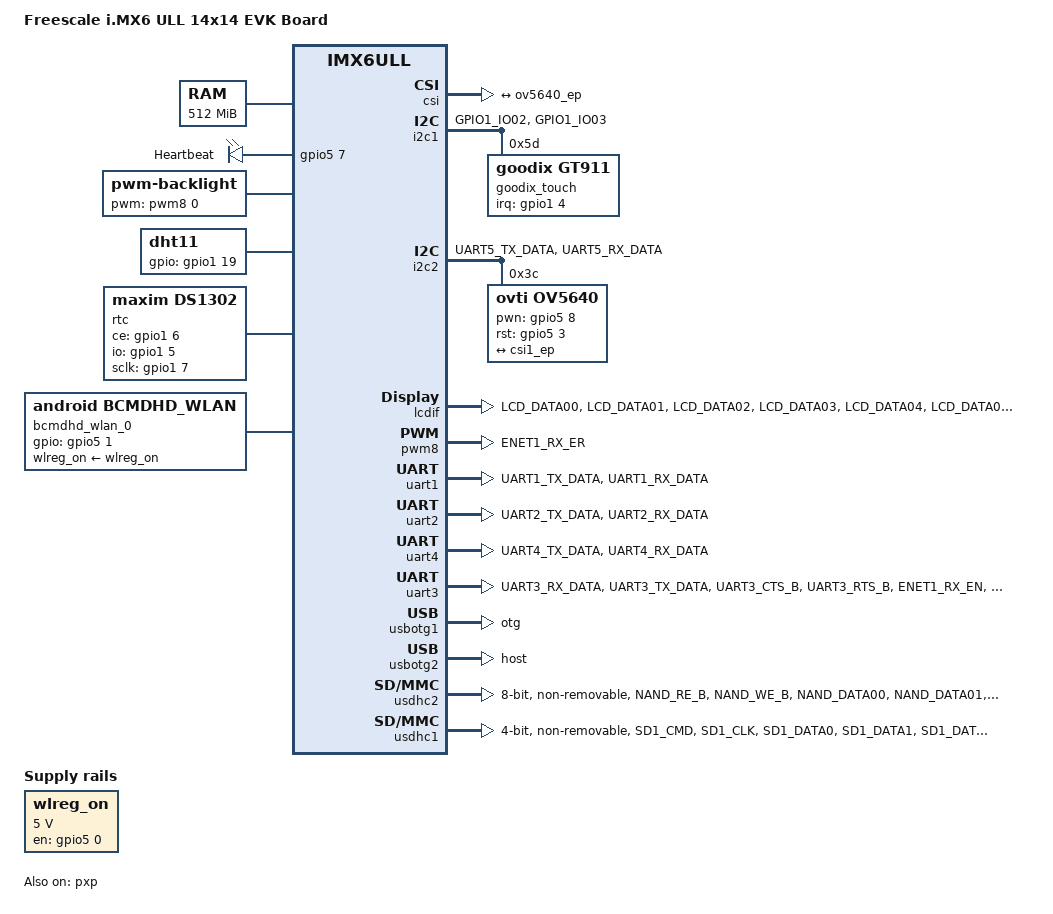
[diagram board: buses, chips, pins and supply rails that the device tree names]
/*
 * Copyright (C) 2016 Freescale Semiconductor, Inc.
 *
 * This program is free software; you can redistribute it and/or modify
 * it under the terms of the GNU General Public License version 2 as
 * published by the Free Software Foundation.
 */

/dts-v1/;

#include <dt-bindings/input/input.h>
#include "imx6ull.dtsi"

/ {
	model = "Freescale i.MX6 ULL 14x14 EVK Board";
	compatible = "fsl,imx6ull-14x14-evk", "fsl,imx6ull";

	chosen {
		stdout-path = &uart1;
	};

	memory {
		reg = <0x80000000 0x20000000>;
	};

	reserved-memory {
		#address-cells = <1>;
		#size-cells = <1>;
		ranges;

		linux,cma {
			compatible = "shared-dma-pool";
			reusable;
			size = <0x14000000>;
			linux,cma-default;
		};
	};
	
	leds {
		compatible = "gpio-leds";

		heartbeat-led {
			label = "Heartbeat";
			gpios = <&gpio5 7 0>;
			linux,default-trigger = "heartbeat";
		};
	};
	
	backlight {
		compatible = "pwm-backlight";
		pwms = <&pwm8 0 40000>;
		brightness-levels = <0 4 8 16 32 64 128 255>;
		default-brightness-level = <6>;
		status = "okay";
	};

	dht11 {
		compatible = "dht11";
		gpios = <&gpio1 19 0>;
		status = "okay";
	};	

	rtc: ds1302 {
		compatible = "maxim,ds1302";
		gpio-ce = <&gpio1 6 GPIO_ACTIVE_HIGH>;
		gpio-io = <&gpio1 5 GPIO_ACTIVE_HIGH>;
		gpio-sclk = <&gpio1 7 GPIO_ACTIVE_HIGH>;
	};

	pxp_v4l2 {
		compatible = "fsl,imx6ul-pxp-v4l2", "fsl,imx6sx-pxp-v4l2", "fsl,imx6sl-pxp-v4l2";
		status = "okay";
	};

	regulators {
		compatible = "simple-bus";
		#address-cells = <1>;
		#size-cells = <0>;
	
		wlreg_on: fixedregulator@100 {
			compatible = "regulator-fixed";
			regulator-min-microvolt = <5000000>;
			regulator-max-microvolt = <5000000>;
			regulator-name = "wlreg_on";
			gpio = <&gpio5 0 0>;
			startup-delay-us = <100>;
			enable-active-high;
		};
		

		
	};

	bcmdhd_wlan_0: bcmdhd_wlan@0 {
		compatible = "android,bcmdhd_wlan";
		gpios = <&gpio5 1 0>;
		wlreg_on-supply = <&wlreg_on>;
	};	

};

&clks {
	assigned-clocks = <&clks IMX6UL_CLK_PLL4_AUDIO_DIV>;
	assigned-clock-rates = <786432000>;
};

&csi {
	status = "okay";

	port {
		csi1_ep: endpoint {
			remote-endpoint = <&ov5640_ep>;
		};
	};
};


&gpc {
	fsl,cpu_pupscr_sw2iso = <0x1>;
	fsl,cpu_pupscr_sw = <0x0>;
	fsl,cpu_pdnscr_iso2sw = <0x1>;
	fsl,cpu_pdnscr_iso = <0x1>;
	fsl,ldo-bypass = <0>; /* DCDC, ldo-enable */
};

&i2c1 {
	clock_frequency = <100000>;
	pinctrl-names = "default";
	pinctrl-0 = <&pinctrl_i2c1>;
	status = "okay";

	goodix_touch: goodix_touch@5d {
		compatible = "goodix,gt911";
		reg = <0x5d>;
		pinctrl-names = "default";
		pinctrl-0 = <&pinctrl_gt911>;
        interrupt-parent = <&gpio1>;
        interrupts = <4 2>;
		irq-gpios = <&gpio1 4 0>;
/*		reset-gpios = <&gpio1 1 0>;		*/
	};
};

&i2c2 {
	clock_frequency = <100000>;
	pinctrl-names = "default";
	pinctrl-0 = <&pinctrl_i2c2>;
	status = "okay";

	ov5640: ov5640@3c {
		compatible = "ovti,ov5640";
		reg = <0x3c>;
		pinctrl-names = "default";
		pinctrl-0 = <&pinctrl_csi1
		             &pinctrl_cam>;
		clocks = <&clks IMX6UL_CLK_CSI>;
		clock-names = "csi_mclk";
		pwn-gpios = <&gpio5 8 0>;
		rst-gpios = <&gpio5 3 0>;
		csi_id = <0>;
		mclk = <24000000>;
		mclk_source = <0>;
		status = "okay";
		port {
			ov5640_ep: endpoint {
				remote-endpoint = <&csi1_ep>;
			};
		};
	};
};

&iomuxc {
	pinctrl-names = "default";
	pinctrl-0 = <&pinctrl_hog_1>;
		pinctrl_hog_1: hoggrp-1 {
			fsl,pins = <
				MX6UL_PAD_GPIO1_IO05__GPIO1_IO05	0x7008
				MX6UL_PAD_GPIO1_IO06__GPIO1_IO06	0x7008
				MX6UL_PAD_GPIO1_IO07__GPIO1_IO07	0x7008
				MX6UL_PAD_GPIO1_IO08__GPIO1_IO08	0x3008
				MX6UL_PAD_GPIO1_IO09__GPIO1_IO09	0x3008
				MX6UL_PAD_JTAG_MOD__GPIO1_IO10	0x3008
				MX6UL_PAD_JTAG_TMS__GPIO1_IO11	0x3008
				MX6UL_PAD_JTAG_TDO__GPIO1_IO12	0x3008
				MX6UL_PAD_JTAG_TDI__GPIO1_IO13	0x3008
				MX6UL_PAD_JTAG_TCK__GPIO1_IO14	0x3008
				MX6UL_PAD_JTAG_TRST_B__GPIO1_IO15	0x3008
				MX6UL_PAD_UART1_CTS_B__GPIO1_IO18	0x3008
				MX6UL_PAD_UART1_RTS_B__GPIO1_IO19	0x7008
				MX6UL_PAD_UART2_CTS_B__GPIO1_IO22	0x3008
				MX6UL_PAD_UART2_RTS_B__GPIO1_IO23	0x3008
				MX6UL_PAD_ENET1_RX_DATA0__GPIO2_IO00	0x3008
				MX6UL_PAD_ENET1_RX_DATA1__GPIO2_IO01	0x3008
				MX6UL_PAD_ENET1_TX_DATA0__GPIO2_IO03	0x3008
				MX6UL_PAD_ENET1_TX_DATA1__GPIO2_IO04	0x3008
				MX6UL_PAD_ENET1_TX_EN__GPIO2_IO05			0x3008
				MX6UL_PAD_ENET1_TX_CLK__GPIO2_IO06		0x3008
				MX6UL_PAD_ENET2_RX_DATA0__GPIO2_IO08	0x3008
				MX6UL_PAD_ENET2_RX_DATA1__GPIO2_IO09	0x3008
				MX6UL_PAD_ENET2_RX_EN__GPIO2_IO10			0x3008
				MX6UL_PAD_ENET2_TX_DATA0__GPIO2_IO11	0x3008
				MX6UL_PAD_ENET2_TX_DATA1__GPIO2_IO12	0x3008
				MX6UL_PAD_ENET2_TX_EN__GPIO2_IO13		0x3008
				MX6UL_PAD_ENET2_TX_CLK__GPIO2_IO14	0x3008
				MX6UL_PAD_ENET2_RX_ER__GPIO2_IO15		0x3008
				MX6UL_PAD_NAND_WP_B__GPIO4_IO11     0x3008
				MX6UL_PAD_NAND_READY_B__GPIO4_IO12 0x3008
				MX6UL_PAD_NAND_CE0_B__GPIO4_IO13   0x3008
				MX6UL_PAD_NAND_CE1_B__GPIO4_IO14   0x3008
				MX6UL_PAD_NAND_CLE__GPIO4_IO15     0x3008
				MX6UL_PAD_NAND_DQS__GPIO4_IO16     0x3008
			>;
		};

		pinctrl_csi1: csi1grp {
			fsl,pins = <
				MX6UL_PAD_CSI_MCLK__CSI_MCLK		0x1b088
				MX6UL_PAD_CSI_PIXCLK__CSI_PIXCLK	0x1b088
				MX6UL_PAD_CSI_VSYNC__CSI_VSYNC		0x1b088
				MX6UL_PAD_CSI_HSYNC__CSI_HSYNC		0x1b088
				MX6UL_PAD_CSI_DATA00__CSI_DATA02	0x1b088
				MX6UL_PAD_CSI_DATA01__CSI_DATA03	0x1b088
				MX6UL_PAD_CSI_DATA02__CSI_DATA04	0x1b088
				MX6UL_PAD_CSI_DATA03__CSI_DATA05	0x1b088
				MX6UL_PAD_CSI_DATA04__CSI_DATA06	0x1b088
				MX6UL_PAD_CSI_DATA05__CSI_DATA07	0x1b088
				MX6UL_PAD_CSI_DATA06__CSI_DATA08	0x1b088
				MX6UL_PAD_CSI_DATA07__CSI_DATA09	0x1b088
			>;
		};

		pinctrl_i2c1: i2c1grp {
			fsl,pins = <
				MX6UL_PAD_GPIO1_IO02__I2C1_SCL	0x4001b8b0
				MX6UL_PAD_GPIO1_IO03__I2C1_SDA	0x4001b8b0
			>;
		};
				
		pinctrl_i2c2: i2c2grp {
			fsl,pins = <
				MX6UL_PAD_UART5_TX_DATA__I2C2_SCL 0x4001b8b0
				MX6UL_PAD_UART5_RX_DATA__I2C2_SDA 0x4001b8b0
			>;
		};

		pinctrl_lcdif_dat: lcdifdatgrp {
			fsl,pins = <
				MX6UL_PAD_LCD_DATA00__LCDIF_DATA00  0x79
				MX6UL_PAD_LCD_DATA01__LCDIF_DATA01  0x79
				MX6UL_PAD_LCD_DATA02__LCDIF_DATA02  0x79
				MX6UL_PAD_LCD_DATA03__LCDIF_DATA03  0x79
				MX6UL_PAD_LCD_DATA04__LCDIF_DATA04  0x79
				MX6UL_PAD_LCD_DATA05__LCDIF_DATA05  0x79
				MX6UL_PAD_LCD_DATA06__LCDIF_DATA06  0x79
				MX6UL_PAD_LCD_DATA07__LCDIF_DATA07  0x79
				MX6UL_PAD_LCD_DATA08__LCDIF_DATA08  0x79
				MX6UL_PAD_LCD_DATA09__LCDIF_DATA09  0x79
				MX6UL_PAD_LCD_DATA10__LCDIF_DATA10  0x79
				MX6UL_PAD_LCD_DATA11__LCDIF_DATA11  0x79
				MX6UL_PAD_LCD_DATA12__LCDIF_DATA12  0x79
				MX6UL_PAD_LCD_DATA13__LCDIF_DATA13  0x79
				MX6UL_PAD_LCD_DATA14__LCDIF_DATA14  0x79
				MX6UL_PAD_LCD_DATA15__LCDIF_DATA15  0x79
				MX6UL_PAD_LCD_DATA16__LCDIF_DATA16  0x79
				MX6UL_PAD_LCD_DATA17__LCDIF_DATA17  0x79
				MX6UL_PAD_LCD_DATA18__LCDIF_DATA18  0x79
				MX6UL_PAD_LCD_DATA19__LCDIF_DATA19  0x79
				MX6UL_PAD_LCD_DATA20__LCDIF_DATA20  0x79
				MX6UL_PAD_LCD_DATA21__LCDIF_DATA21  0x79
				MX6UL_PAD_LCD_DATA22__LCDIF_DATA22  0x79
				MX6UL_PAD_LCD_DATA23__LCDIF_DATA23  0x79
			>;
		};

		pinctrl_lcdif_ctrl: lcdifctrlgrp {
			fsl,pins = <
				MX6UL_PAD_LCD_CLK__LCDIF_CLK	    0x79
				MX6UL_PAD_LCD_ENABLE__LCDIF_ENABLE  0x79
				MX6UL_PAD_LCD_HSYNC__LCDIF_HSYNC    0x79
				MX6UL_PAD_LCD_VSYNC__LCDIF_VSYNC    0x79
			>;
		};

		pinctrl_pwm8: pwm8grp {
			fsl,pins = <
				MX6UL_PAD_ENET1_RX_ER__PWM8_OUT   0x110b0
			>;
		};

		pinctrl_gt911: gt911grp {
			fsl,pins = <
				MX6UL_PAD_GPIO1_IO01__GPIO1_IO01	0xf0b0
				MX6UL_PAD_GPIO1_IO04__GPIO1_IO04	0xb0
			>;
		};
		
		pinctrl_uart1: uart1grp {
			fsl,pins = <
				MX6UL_PAD_UART1_TX_DATA__UART1_DCE_TX 0x1b0b1
				MX6UL_PAD_UART1_RX_DATA__UART1_DCE_RX 0x1b0b1
			>;
		};

		pinctrl_uart2: uart2grp {
			fsl,pins = <
				MX6UL_PAD_UART2_TX_DATA__UART2_DCE_TX 0x1b0b1
				MX6UL_PAD_UART2_RX_DATA__UART2_DCE_RX 0x1b0b1
			>;
		};
		
		pinctrl_uart4: uart4grp {
			fsl,pins = <
				MX6UL_PAD_UART4_TX_DATA__UART4_DCE_TX 0x1b0b1
				MX6UL_PAD_UART4_RX_DATA__UART4_DCE_RX 0x1b0b1
			>;
		};
		
		pinctrl_uart3: uart3grp {
			fsl,pins = <
				MX6UL_PAD_UART3_RX_DATA__UART3_DTE_TX	0x1b0b1
				MX6UL_PAD_UART3_TX_DATA__UART3_DTE_RX	0x1b0b1
				MX6UL_PAD_UART3_CTS_B__UART3_DTE_RTS	0x1b0b1
				MX6UL_PAD_UART3_RTS_B__UART3_DTE_CTS	0x1b0b1 
				MX6UL_PAD_ENET1_RX_EN__REF_CLK_32K	0x1b0b1 /* BT_LPO */
			>;
		};
				
		pinctrl_usdhc1: usdhc1grp {
			fsl,pins = <
				MX6UL_PAD_SD1_CMD__USDHC1_CMD     0x17059
				MX6UL_PAD_SD1_CLK__USDHC1_CLK     0x10071
				MX6UL_PAD_SD1_DATA0__USDHC1_DATA0 0x17059
				MX6UL_PAD_SD1_DATA1__USDHC1_DATA1 0x17059
				MX6UL_PAD_SD1_DATA2__USDHC1_DATA2 0x17059
				MX6UL_PAD_SD1_DATA3__USDHC1_DATA3 0x17059
			>;
		};

		pinctrl_usdhc1_100mhz: usdhc1grp100mhz {
			fsl,pins = <
				MX6UL_PAD_SD1_CMD__USDHC1_CMD     0x170b9
				MX6UL_PAD_SD1_CLK__USDHC1_CLK     0x100b9
				MX6UL_PAD_SD1_DATA0__USDHC1_DATA0 0x170b9
				MX6UL_PAD_SD1_DATA1__USDHC1_DATA1 0x170b9
				MX6UL_PAD_SD1_DATA2__USDHC1_DATA2 0x170b9
				MX6UL_PAD_SD1_DATA3__USDHC1_DATA3 0x170b9
			>;
		};

		pinctrl_usdhc1_200mhz: usdhc1grp200mhz {
			fsl,pins = <
				MX6UL_PAD_SD1_CMD__USDHC1_CMD     0x170f9
				MX6UL_PAD_SD1_CLK__USDHC1_CLK     0x100f9
				MX6UL_PAD_SD1_DATA0__USDHC1_DATA0 0x170f9
				MX6UL_PAD_SD1_DATA1__USDHC1_DATA1 0x170f9
				MX6UL_PAD_SD1_DATA2__USDHC1_DATA2 0x170f9
				MX6UL_PAD_SD1_DATA3__USDHC1_DATA3 0x170f9
			>;
		};

		pinctrl_usdhc2: usdhc2grp {
			fsl,pins = <
				MX6UL_PAD_NAND_RE_B__USDHC2_CLK     0x10069
				MX6UL_PAD_NAND_WE_B__USDHC2_CMD     0x17059
				MX6UL_PAD_NAND_DATA00__USDHC2_DATA0 0x17059
				MX6UL_PAD_NAND_DATA01__USDHC2_DATA1 0x17059
				MX6UL_PAD_NAND_DATA02__USDHC2_DATA2 0x17059
				MX6UL_PAD_NAND_DATA03__USDHC2_DATA3 0x17059
			>;
		};

		pinctrl_usdhc2_8bit: usdhc2grp_8bit {
			fsl,pins = <
				MX6UL_PAD_NAND_RE_B__USDHC2_CLK     0x10069
				MX6UL_PAD_NAND_WE_B__USDHC2_CMD     0x17059
				MX6UL_PAD_NAND_DATA00__USDHC2_DATA0 0x17059
				MX6UL_PAD_NAND_DATA01__USDHC2_DATA1 0x17059
				MX6UL_PAD_NAND_DATA02__USDHC2_DATA2 0x17059
				MX6UL_PAD_NAND_DATA03__USDHC2_DATA3 0x17059
				MX6UL_PAD_NAND_DATA04__USDHC2_DATA4 0x17059
				MX6UL_PAD_NAND_DATA05__USDHC2_DATA5 0x17059
				MX6UL_PAD_NAND_DATA06__USDHC2_DATA6 0x17059
				MX6UL_PAD_NAND_DATA07__USDHC2_DATA7 0x17059
			>;
		};

		pinctrl_usdhc2_8bit_100mhz: usdhc2grp_8bit_100mhz {
			fsl,pins = <
				MX6UL_PAD_NAND_RE_B__USDHC2_CLK     0x100b9
				MX6UL_PAD_NAND_WE_B__USDHC2_CMD     0x170b9
				MX6UL_PAD_NAND_DATA00__USDHC2_DATA0 0x170b9
				MX6UL_PAD_NAND_DATA01__USDHC2_DATA1 0x170b9
				MX6UL_PAD_NAND_DATA02__USDHC2_DATA2 0x170b9
				MX6UL_PAD_NAND_DATA03__USDHC2_DATA3 0x170b9
				MX6UL_PAD_NAND_DATA04__USDHC2_DATA4 0x170b9
				MX6UL_PAD_NAND_DATA05__USDHC2_DATA5 0x170b9
				MX6UL_PAD_NAND_DATA06__USDHC2_DATA6 0x170b9
				MX6UL_PAD_NAND_DATA07__USDHC2_DATA7 0x170b9
			>;
		};

		pinctrl_usdhc2_8bit_200mhz: usdhc2grp_8bit_200mhz {
			fsl,pins = <
				MX6UL_PAD_NAND_RE_B__USDHC2_CLK     0x100f9
				MX6UL_PAD_NAND_WE_B__USDHC2_CMD     0x170f9
				MX6UL_PAD_NAND_DATA00__USDHC2_DATA0 0x170f9
				MX6UL_PAD_NAND_DATA01__USDHC2_DATA1 0x170f9
				MX6UL_PAD_NAND_DATA02__USDHC2_DATA2 0x170f9
				MX6UL_PAD_NAND_DATA03__USDHC2_DATA3 0x170f9
				MX6UL_PAD_NAND_DATA04__USDHC2_DATA4 0x170f9
				MX6UL_PAD_NAND_DATA05__USDHC2_DATA5 0x170f9
				MX6UL_PAD_NAND_DATA06__USDHC2_DATA6 0x170f9
				MX6UL_PAD_NAND_DATA07__USDHC2_DATA7 0x170f9
			>;
		};
};

&iomuxc_snvs {
	pinctrl-names = "default_snvs";
        pinctrl-0 = <&pinctrl_hog_2>;
        imx6ul-evk {
		pinctrl_hog_2: hoggrp-2 {
                        fsl,pins = <
                                MX6ULL_PAD_SNVS_TAMPER2__GPIO5_IO02      0x80000000
																MX6ULL_PAD_SNVS_TAMPER7__GPIO5_IO07      0x79 /* LED1 */
                        >;
                };
                
		pinctrl_wifi: wifigrp {
			fsl,pins = <
				/* Murata Module control signals */
				MX6ULL_PAD_SNVS_TAMPER1__GPIO5_IO01 0x79 /* WL_HOST_WAKE */
				MX6ULL_PAD_SNVS_TAMPER0__GPIO5_IO00	0x79 /* WL_REG_ON */
			>;
		};

		pinctrl_bt: btgrp {
			fsl,pins = <
				/* Murata Module control signals */
				MX6ULL_PAD_SNVS_TAMPER4__GPIO5_IO04 0x79 /* BT_HOST_WAKE */
				MX6ULL_PAD_SNVS_TAMPER5__GPIO5_IO05	0x79 /* BT_RESET_B */
				MX6ULL_PAD_SNVS_TAMPER9__GPIO5_IO09	0x79 /* BT_WAKE */
			>;
		};
				               	
		pinctrl_cam: camgrp {
                        fsl,pins = <
                                MX6ULL_PAD_SNVS_TAMPER3__GPIO5_IO03      0x79
                                MX6ULL_PAD_SNVS_TAMPER8__GPIO5_IO08      0x79
                        >;
                };

        };
};


&lcdif {
	pinctrl-names = "default";
	pinctrl-0 = <&pinctrl_lcdif_dat
		     &pinctrl_lcdif_ctrl>;
	display = <&display0>;
	status = "okay";

	display0: display@0 {
		bits-per-pixel = <16>;
		bus-width = <24>;
		display-timings {
			native-mode = <&timing0>;
/*
			timing0: timing0 {
			clock-frequency = <9200000>;
			hactive = <480>;
			vactive = <272>;
			hfront-porch = <8>;
			hback-porch = <4>;
			hsync-len = <41>;
			vback-porch = <2>;
			vfront-porch = <4>;
			vsync-len = <10>;

			hsync-active = <0>;
			vsync-active = <0>;
			de-active = <1>;
			pixelclk-active = <0>;
			};
*/
		timing0: 7_800x480 {
			clock-frequency = <33000000>;
			hactive = <800>;
			vactive = <480>;
			hfront-porch = <121>;
			hback-porch = <88>;
			hsync-len = <48>;
			vback-porch = <39>;
			vfront-porch = <21>;
			vsync-len = <3>;

			hsync-active = <0>;
			vsync-active = <0>;
			de-active = <1>;
			pixelclk-active = <0>;
			};                                    /*7.0*/
		};
	};
};

&pwm8 {
	pinctrl-names = "default";
	pinctrl-0 = <&pinctrl_pwm8>;
	clocks = <&clks IMX6UL_CLK_PWM8>,
			<&clks IMX6UL_CLK_PWM8>;
	status = "okay";
};

&pxp {
	status = "okay";
};

&uart1 {
	pinctrl-names = "default";
	pinctrl-0 = <&pinctrl_uart1>;
	status = "okay";
};

&uart2 {
	pinctrl-names = "default";
	pinctrl-0 = <&pinctrl_uart2>;
	status = "okay";
};

&uart4 {
	pinctrl-names = "default";
	pinctrl-0 = <&pinctrl_uart4>;
	status = "okay";
};

&uart3 {
	pinctrl-names = "default";
	pinctrl-0 = <&pinctrl_uart3
		     &pinctrl_bt>;
	fsl,uart-has-rtscts; 
	fsl,dte-mode; 
	status = "okay";
};

&usbotg1 {
	dr_mode = "otg";
	srp-disable;
	hnp-disable;
	adp-disable;
	status = "okay";
};

&usbotg2 {
	dr_mode = "host";
	disable-over-current;
	status = "okay";
};

&usbphy1 {
	tx-d-cal = <0x5>;
};

&usbphy2 {
	tx-d-cal = <0x5>;
};

&usdhc2 {
	pinctrl-names = "default";
	pinctrl-0 = <&pinctrl_usdhc2_8bit_200mhz>;
	bus-width = <8>;
	non-removable;
	status = "okay";
};

&usdhc1 {
	pinctrl-names = "default";
	pinctrl-0 = <&pinctrl_usdhc1 &pinctrl_wifi>;
	bus-width = <4>;
	no-1-8-v;	/* force 3.3V VIO */
	non-removable;
	cd-post;
	pm-ignore-notify;
	wifi-host;	/* pull in card detect mechanism for BCMDHD driver */
	status = "okay";
};
